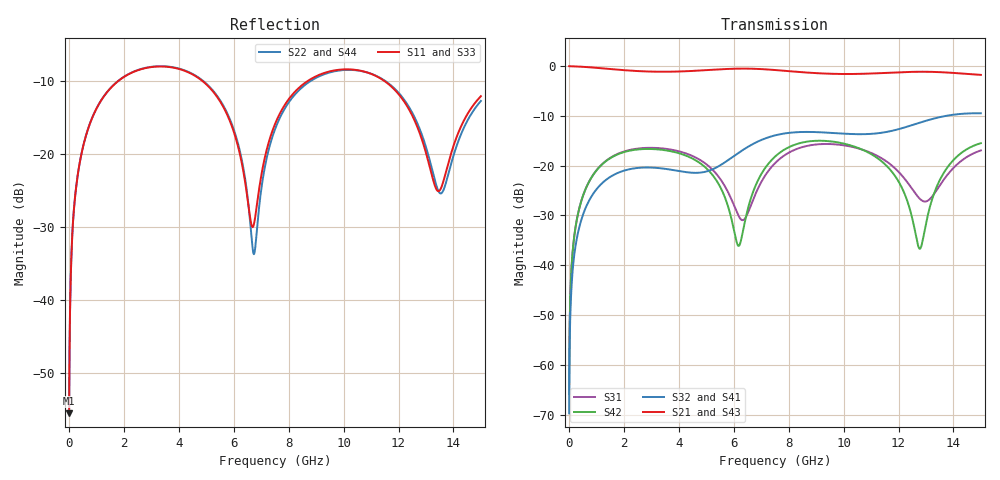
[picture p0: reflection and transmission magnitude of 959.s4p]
! Created with skrf 1.8.0 (http://scikit-rf.org).
# GHz S RI R 50.0
!freq ReS11 ImS11 ReS12 ImS12 ReS13 ImS13
! ReS14 ImS14
! ReS21 ImS21 ReS22 ImS22 ReS23 ImS23
! ReS24 ImS24
! ReS31 ImS31 ReS32 ImS32 ReS33 ImS33
! ReS34 ImS34
! ReS41 ImS41 ReS42 ImS42 ReS43 ImS43
! ReS44 ImS44
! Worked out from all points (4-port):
!   2499 points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, 5 MHz to 15 GHz, reference 50 ohm
!   strongest paths, dB at 5 MHz, 3.476 GHz, 7.19 GHz, 11.1 GHz, 15 GHz:
!     S21: 0.0, -1.1, -0.7, -1.5, -1.8
!     S43: 0.0, -1.1, -0.7, -1.5, -1.8
!     S32: -69.7, -20.6, -14.4, -13.6, -9.5
!     S41: -69.7, -20.7, -14.4, -13.7, -9.5
!     S42: -65.9, -16.9, -20.1, -18.0, -15.5
!     S31: -65.9, -16.6, -21.6, -17.7, -16.9
!   lowest |S11| = -55.5 dB at 5 MHz (marker M1), VSWR 1.00, Z = 50.1 + j0.103 ohm
!   |S11| at or under -10 dB: start of sweep to 1.806 GHz; 4.849 GHz to 8.707 GHz (3.858 GHz wide, 56.9 % of centre); 11.47 GHz to end of sweep
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0.005  0.00134 0.00102  0.9986 -0.00261  6.56e-05 0.000504  -6.38e-05 -0.00032
       0.9986 -0.00261  0.00134 0.00102  -6.38e-05 -0.00032  6.55e-05 0.000504
       6.56e-05 0.000504  -6.38e-05 -0.00032  0.00134 0.00102  0.9986 -0.00261
       -6.38e-05 -0.00032  6.55e-05 0.000504  0.9986 -0.00261  0.00134 0.00102
0.4126719  0.026 0.0877  0.9639 -0.213  0.0121 0.039  -0.0099 -0.0244
           0.9639 -0.213  0.0261 0.0877  -0.00992 -0.0244  0.0116 0.0392
           0.0121 0.039  -0.00992 -0.0244  0.026 0.0877  0.9639 -0.213
           -0.0099 -0.0244  0.0116 0.0392  0.9639 -0.213  0.0261 0.0877
1.925802  0.2745 0.1806  0.5404 -0.7371  0.126 0.0527  -0.0875 -0.00497
          0.5404 -0.7371  0.2763 0.1793  -0.0876 -0.00475  0.1205 0.0604
          0.126 0.0527  -0.0876 -0.00475  0.2744 0.1807  0.5404 -0.7371
          -0.0875 -0.00497  0.1205 0.0604  0.5404 -0.7371  0.2764 0.1793
6.67153  0.0315 -0.00384  -0.9384 -0.074  -0.0197 0.0384  -0.0106 0.1633
         -0.9384 -0.074  0.0204 -0.0129  -0.0068 0.1634  0.0254 0.0447
         -0.0197 0.0384  -0.0068 0.1634  0.0329 -0.00434  -0.9383 -0.0742
         -0.0106 0.1633  0.0254 0.0447  -0.9383 -0.0742  0.0192 -0.0133
10.76073  0.3545 -0.0865  0.1394 0.8265  0.0997 -0.102  0.1881 -0.0819
          0.1394 0.8265  0.3554 -0.0803  0.1866 -0.0902  0.1039 -0.0964
          0.0997 -0.102  0.1866 -0.0902  0.3533 -0.084  0.1395 0.8267
          0.1881 -0.0819  0.1039 -0.0964  0.1395 0.8267  0.3554 -0.0826
12.77407  0.0898 -0.1052  0.7805 0.4016  -0.044 -0.0153  0.124 -0.2404
          0.7805 0.4016  0.0936 -0.1143  0.1121 -0.2461  -0.0146 0.000669
          -0.044 -0.0153  0.1121 -0.2461  0.095 -0.1029  0.7806 0.4015
          0.124 -0.2404  -0.0146 0.000669  0.7806 0.4015  0.0887 -0.1165
15  0.1985 0.1487  0.68 -0.4518  0.1319 0.0535  -0.2141 -0.258
    0.68 -0.4518  0.1807 0.1427  -0.227 -0.2479  0.1629 0.0422
    0.1319 0.0535  -0.227 -0.2479  0.2004 0.1427  0.6804 -0.4518
    -0.2141 -0.258  0.1629 0.0422  0.6804 -0.4518  0.1774 0.146
